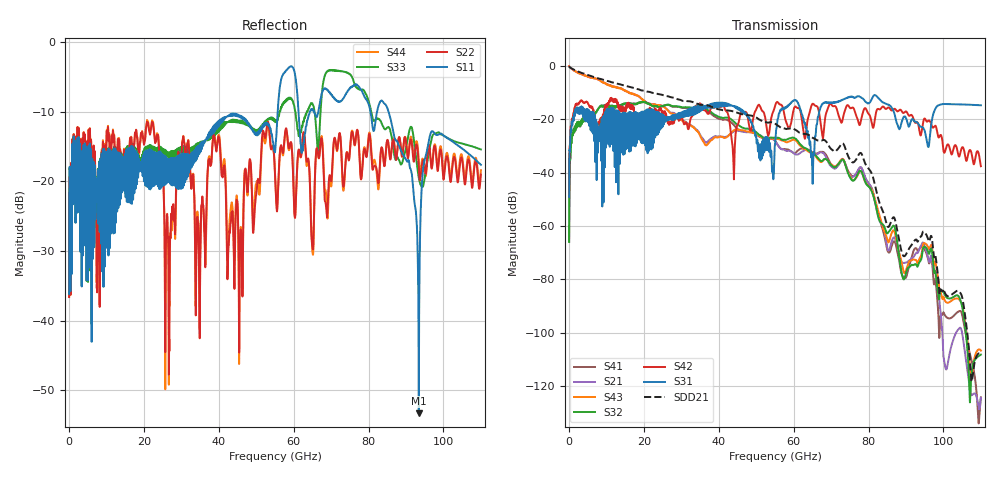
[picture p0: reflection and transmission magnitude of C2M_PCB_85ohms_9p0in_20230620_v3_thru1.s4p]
! Info: Touchstone file created by Circ.  Input file=C2M_PCB_85ohms_9p0in_20230620_v3.circ
# Hz S RI R 50
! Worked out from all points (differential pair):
!   11000 points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, 10 MHz to 110 GHz, reference 50 ohm
!   strongest paths, dB at 10 MHz, 27.51 GHz, 55.01 GHz, 82.51 GHz, 110 GHz:
!     S31: -49.1, -18.7, -29.2, -11.9, -14.8
!     S42: -48.9, -20.8, -15.0, -16.1, -37.6
!     S32: -65.9, -15.1, -26.9, -56.1, -108.2
!     S43: -0.1, -17.9, -27.3, -54.2, -106.6
!     S21: -0.1, -17.6, -28.0, -56.0, -124.3
!     S41: -65.9, -15.3, -28.0, -55.2, -124.2
!   taken as a pair (ports 3,1 in; 4,2 out), SDD21 dB: -0.1, -11.8, -21.6, -49.4, -108.3
!   lowest |S11| = -53.3 dB at 93.42 GHz (marker M1), VSWR 1.00, Z = 49.8 + j0.0256 ohm
!   |S11| at or under -10 dB: start of sweep to 55.73 GHz; 61.31 GHz to 64.3 GHz (2.996 GHz wide, 4.77 % of centre); 85.32 GHz to end of sweep (the widest 3 of 5)
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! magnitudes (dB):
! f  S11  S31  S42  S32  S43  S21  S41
! 10 MHz  -36.2  -49.1  -48.9  -65.9  -0.1  -0.1  -65.9
! 8.4 GHz  -17.5  -22.0  -19.7  -15.2  -5.7  -5.7  -15.2
! 36.2 GHz  -14.4  -15.1  -16.5  -16.1  -29.2  -28.3  -16.5
! 54.31 GHz  -14.0  -38.4  -17.9  -26.9  -27.3  -27.3  -27.3
! 73.08 GHz  -8.2  -12.7  -20.0  -35.1  -34.9  -35.2  -35.0
! 93.42 GHz  -53.3  -22.1  -22.9  -74.0  -72.9  -69.2  -68.9
! 110 GHz  -17.6  -14.8  -37.6  -108.2  -106.6  -124.3  -124.2
